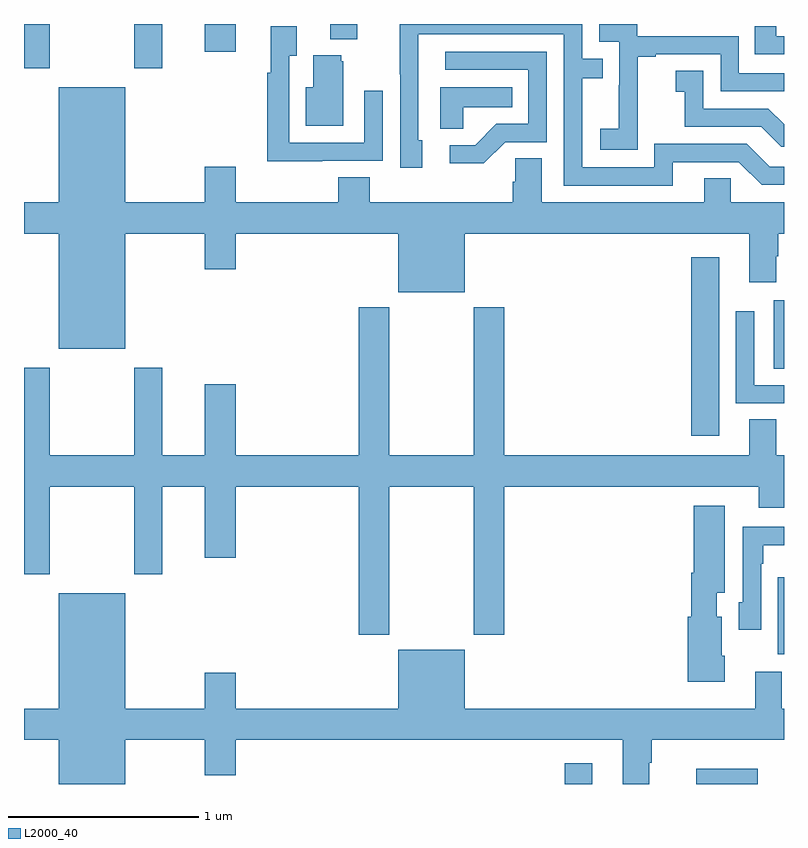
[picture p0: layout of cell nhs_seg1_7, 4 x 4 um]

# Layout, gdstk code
import gdstk
lib = gdstk.Library(unit=1e-6, precision=1e-09)
def R(c, l, rs):  # rectangles x0, y0, x1, y1
    for r in rs: c.add(gdstk.rectangle(r[:2], r[2:], *l))
def P(c, l, *ps):  # polygons
    for p in ps: c.add(gdstk.Polygon(p, *l))
L2000_40 = (2000, 40)

nhs_seg1_7 = lib.new_cell('nhs_seg1_7')
R(nhs_seg1_7, L2000_40, [(113.846,518.199,113.992,518.308), (114.537,518.199,114.862,518.278), (114.968,518.881,115,519.286), (114.512,520.032,114.658,520.972), (114.947,520.384,115,520.746), (111,521.967,111.135,522.199), (111.58,521.967,111.727,522.199), (111.95,522.054,112.114,522.199), (112.613,522.119,112.753,522.199)])
P(nhs_seg1_7, L2000_40, [(114.231,521.743),(114.23,521.743),(114.23,522.027),(114.325,522.027),(114.325,522.039),(114.666,522.039),(114.666,521.844),(115,521.844),(115,521.94),(114.762,521.94),(114.762,522.135),(114.228,522.135),(114.228,522.199),(114.027,522.199),(114.027,522.105),(114.132,522.105),(114.132,521.876),(114.131,521.876),(114.131,521.647),(114.033,521.647),(114.033,521.537),(114.231,521.537)],
  [(114.415,521.472),(114.762,521.472),(114.882,521.352),(115,521.352),(115,521.448),(114.924,521.448),(114.804,521.568),(114.318,521.568),(114.318,521.445),(113.937,521.445),(113.937,521.914),(114.047,521.914),(114.047,522.015),(113.937,522.015),(113.937,522.199),(112.978,522.199),(112.978,521.935),(112.98,521.935),(112.98,521.442),(113.095,521.442),(113.095,521.586),(113.076,521.586),(113.076,522.144),(113.841,522.144),(113.841,521.349),(114.415,521.349)],
  [(112.571,521.478),(112.887,521.478),(112.887,521.847),(112.791,521.847),(112.791,521.574),(112.395,521.574),(112.395,522.031),(112.435,522.031),(112.435,522.187),(112.298,522.187),(112.298,521.942),(112.279,521.942),(112.279,521.477),(112.571,521.477)],
  [(115,522.135),(114.958,522.135),(114.958,522.187),(114.847,522.187),(114.847,522.039),(115,522.039)],
  [(113.532,521.577),(113.751,521.577),(113.751,522.054),(113.217,522.054),(113.217,521.958),(113.655,521.958),(113.655,521.673),(113.486,521.673),(113.375,521.562),(113.241,521.562),(113.241,521.465),(113.419,521.465)],
  [(112.681,522.003),(112.67,522.003),(112.67,522.034),(112.523,522.034),(112.523,521.866),(112.484,521.866),(112.484,521.663),(112.681,521.663)],
  [(115,521.672),(114.918,521.754),(114.576,521.754),(114.576,521.953),(114.429,521.953),(114.429,521.843),(114.478,521.843),(114.478,521.658),(114.881,521.658),(114.986,521.553),(115,521.553)],
  [(113.313,521.762),(113.57,521.762),(113.57,521.866),(113.192,521.866),(113.192,521.647),(113.313,521.647)],
  [(111.532,521.096),(111.95,521.096),(111.95,520.908),(112.114,520.908),(112.114,521.096),(112.97,521.096),(112.97,520.787),(113.32,520.787),(113.32,521.096),(114.818,521.096),(114.818,520.839),(114.958,520.839),(114.958,520.976),(114.971,520.976),(114.971,521.096),(115,521.096),(115,521.26),(114.72,521.26),(114.72,521.387),(114.581,521.387),(114.581,521.26),(113.725,521.26),(113.725,521.492),(113.586,521.492),(113.586,521.369),(113.573,521.369),(113.573,521.26),(112.82,521.26),(112.82,521.393),(112.655,521.393),(112.655,521.26),(112.114,521.26),(112.114,521.449),(111.95,521.449),(111.95,521.26),(111.532,521.26),(111.532,521.866),(111.182,521.866),(111.182,521.26),(111,521.26),(111,521.096),(111.182,521.096),(111.182,520.49),(111.532,520.49)],
  [(112.923,519.764),(113.368,519.764),(113.368,518.985),(113.528,518.985),(113.528,519.764),(114.866,519.764),(114.866,519.654),(115,519.654),(115,519.928),(114.958,519.928),(114.958,520.118),(114.818,520.118),(114.818,519.928),(113.528,519.928),(113.528,520.708),(113.368,520.708),(113.368,519.928),(112.923,519.928),(112.923,520.708),(112.763,520.708),(112.763,519.928),(112.114,519.928),(112.114,520.303),(111.95,520.303),(111.95,519.928),(111.727,519.928),(111.727,520.39),(111.58,520.39),(111.58,519.928),(111.135,519.928),(111.135,520.39),(111,520.39),(111,519.303),(111.135,519.303),(111.135,519.764),(111.58,519.764),(111.58,519.303),(111.727,519.303),(111.727,519.764),(111.95,519.764),(111.95,519.39),(112.114,519.39),(112.114,519.764),(112.763,519.764),(112.763,518.985),(112.923,518.985)],
  [(115,520.299),(114.843,520.299),(114.843,520.687),(114.747,520.687),(114.747,520.203),(115,520.203)],
  [(114.688,518.874),(114.672,518.874),(114.672,519.078),(114.646,519.078),(114.646,519.206),(114.688,519.206),(114.688,519.664),(114.524,519.664),(114.524,519.31),(114.512,519.31),(114.512,519.078),(114.494,519.078),(114.494,518.738),(114.688,518.738)],
  [(114.879,519.359),(114.892,519.359),(114.892,519.455),(115,519.455),(115,519.552),(114.783,519.552),(114.783,519.156),(114.762,519.156),(114.762,519.012),(114.879,519.012)],
  [(111.532,518.432),(111.95,518.432),(111.95,518.244),(112.114,518.244),(112.114,518.432),(114.152,518.432),(114.152,518.199),(114.292,518.199),(114.292,518.312),(114.305,518.312),(114.305,518.432),(115,518.432),(115,518.596),(114.988,518.596),(114.988,518.791),(114.848,518.791),(114.848,518.596),(113.32,518.596),(113.32,518.905),(112.97,518.905),(112.97,518.596),(112.114,518.596),(112.114,518.785),(111.95,518.785),(111.95,518.596),(111.532,518.596),(111.532,519.202),(111.182,519.202),(111.182,518.596),(111,518.596),(111,518.432),(111.182,518.432),(111.182,518.199),(111.532,518.199)])

lib.write_gds('nhs_seg1_7.gds')
